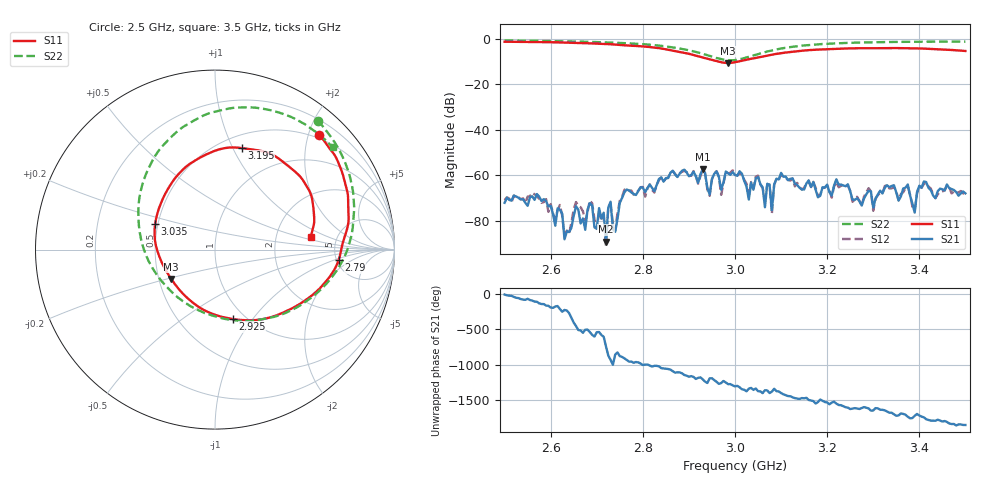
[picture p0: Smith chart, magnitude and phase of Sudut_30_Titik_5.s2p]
# Hz S RI R 50
! CMT, C1220, 16058040, 17.2.0/1
! Date: 15/08/2018 10:22:56
! Data: Format (Calibration Info)
! Freq  S11: Re/Im (F2)  S21: Re/Im (F2)  S12: Re/Im (F2)  S22: Re/Im (F2)
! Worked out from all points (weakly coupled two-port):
!   201 points, 2.5 GHz to 3.5 GHz, reference 50 ohm
!   highest |S21| = -57.32 dB at 2.93 GHz (marker M1); lowest = -89.2 dB at 2.72 GHz (marker M2)
!   lowest |S11| = -10.6 dB at 2.985 GHz (marker M3), VSWR 1.83, Z = 29 - j10.4 ohm
!   |S11| at or under -10 dB: 2.963 GHz to 3.007 GHz (44.45 MHz wide, 1.49 % of centre)
!   |S22| runs from -9.4 to -0.7 dB; largest |S21 - S12| = 0.00017
!   S11 on the Smith chart (normalised r, x): 2.5 GHz: 0.44, +2.20; 2.79 GHz: 5.21, -1.16; 2.925 GHz: 0.87, -0.80; 3.035 GHz: 0.48, +0.16; 3.195 GHz: 0.63, +1.08; 3.5 GHz: 3.19, +0.65
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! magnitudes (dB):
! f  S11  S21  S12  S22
! 2.5 GHz  -1.3  -72.1  -70.9  -0.7
! 2.67 GHz  -1.9  -79.0  -75.9  -1.3
! 2.72 GHz  -2.3  -89.2  -91.2  -1.6
! 2.79 GHz  -3.2  -67.0  -66.9  -2.2
! 2.835 GHz  -4.1  -61.6  -62.2  -3.0
! 2.925 GHz  -8.0  -59.6  -60.4  -6.3
! 2.93 GHz  -8.3  -57.3  -57.5  -6.6
! 2.945 GHz  -9.0  -68.4  -69.1  -7.5
! 2.985 GHz  -10.6  -59.2  -59.2  -9.4
! 3 GHz  -10.3  -59.9  -59.9  -9.4
! 3.035 GHz  -8.8  -63.2  -63.0  -7.6
! 3.065 GHz  -7.6  -74.1  -70.3  -5.9
! 3.075 GHz  -7.2  -64.2  -64.0  -5.4
! 3.08 GHz  -7.0  -75.5  -77.0  -5.1
! 3.1 GHz  -6.3  -59.0  -59.6  -4.3
! 3.17 GHz  -4.9  -63.1  -62.9  -2.6
! 3.195 GHz  -4.7  -65.4  -65.5  -2.3
! 3.3 GHz  -4.2  -74.3  -75.6  -1.5
! 3.335 GHz  -4.1  -65.3  -65.8  -1.4
! 3.39 GHz  -4.2  -76.4  -75.4  -1.3
! 3.41 GHz  -4.3  -62.8  -63.8  -1.3
! 3.5 GHz  -5.4  -68.0  -68.4  -1.2
